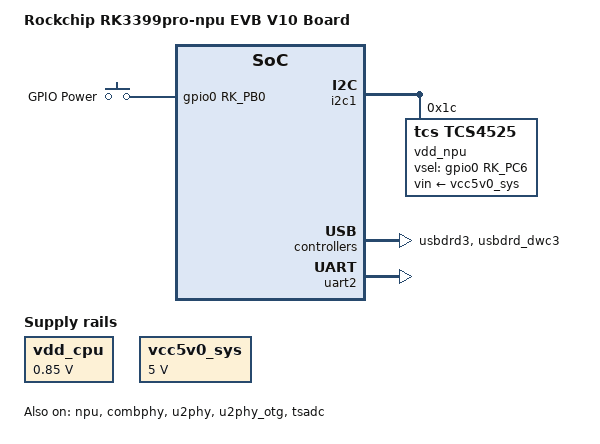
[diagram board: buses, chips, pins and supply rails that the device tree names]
// SPDX-License-Identifier: (GPL-2.0+ OR MIT)
/*
 * Copyright (c) 2018 Fuzhou Rockchip Electronics Co., Ltd
 */

/dts-v1/;
#include <dt-bindings/gpio/gpio.h>
#include <dt-bindings/pinctrl/rockchip.h>
#include "rk3399pro-npu.dtsi"

/ {
	model = "Rockchip RK3399pro-npu EVB V10 Board";
	compatible = "rockchip,rk3399pro-npu-evb-v10", "rockchip,rk3399pro-npu";

	chosen {
		bootargs = "earlycon=uart8250,mmio32,0xff550000 console=ttyS2,1500000 init=/init kpti=0";
	};

	keys: gpio-keys {
		compatible = "gpio-keys";
		pinctrl-names = "default";
		pinctrl-0 = <&pwr_key>;

		power {
			gpios = <&gpio0 RK_PB0 GPIO_ACTIVE_HIGH>;
			label = "GPIO Power";
			linux,code = <116>;
			wakeup-source;
		};
	};

	fiq-debugger {
		compatible = "rockchip,fiq-debugger";
		rockchip,serial-id = <2>;
		rockchip,wake-irq = <0>;
		/* If enable uart uses irq instead of fiq */
		rockchip,irq-mode-enable = <0>;
		rockchip,baudrate = <1500000>;  /* Only 115200 and 1500000 */
		interrupts = <GIC_SPI 242 IRQ_TYPE_LEVEL_HIGH>;
		pinctrl-names = "default";
		pinctrl-0 = <&uart2m0_xfer>;
		status = "okay";
	};

	vdd_cpu: vdd-cpu {
		compatible = "regulator-fixed";
		regulator-name = "vdd_cpu";
		regulator-always-on;
		regulator-boot-on;
		regulator-min-microvolt = <850000>;
		regulator-max-microvolt = <850000>;
	};

	vcc5v0_sys: vcc5v0-sys {
		compatible = "regulator-fixed";
		regulator-name = "vcc5v0_sys";
		regulator-always-on;
		regulator-boot-on;
		regulator-min-microvolt = <5000000>;
		regulator-max-microvolt = <5000000>;
	};
};

&cpu0 {
	cpu-supply = <&vdd_cpu>;
};

&cpu1 {
	cpu-supply = <&vdd_cpu>;
};

&i2c1 {
	status = "okay";

	vdd_npu: tcs4525@1c {
		compatible = "tcs,tcs4525";
		reg = <0x1c>;
		vin-supply = <&vcc5v0_sys>;
		regulator-compatible = "fan53555-reg";
		pinctrl-0 = <&vsel_gpio>;
		vsel-gpios = <&gpio0 RK_PC6 GPIO_ACTIVE_HIGH>;
		regulator-name = "vdd_npu";
		regulator-min-microvolt = <750000>;
		regulator-max-microvolt = <800000>;
		regulator-ramp-delay = <2300>;
		fcs,suspend-voltage-selector = <1>;
		regulator-always-on;
		regulator-boot-on;
		regulator-initial-state = <3>;
		regulator-state-mem {
			regulator-off-in-suspend;
		};
	};
};

&npu {
	npu-supply = <&vdd_npu>;
	status = "okay";
};

&combphy {
	status = "okay";
};

&u2phy {
	status = "okay";
};

&u2phy_otg {
	status = "okay";
};

&usbdrd3 {
	status = "okay";
};

&usbdrd_dwc3 {
	status = "okay";
};

&tsadc {
	rockchip,hw-tshut-mode = <1>; /* tshut mode 0:CRU 1:GPIO */
	rockchip,hw-tshut-polarity = <1>; /* tshut polarity 0:LOW 1:HIGH */
	pinctrl-names = "init", "default";
	pinctrl-0 = <&tsadc_otp_gpio>;
	pinctrl-1 = <&tsadc_otp_out>;
	status = "okay";
};

&pinctrl {
	vdd-npu-sleep {
		vsel_gpio: vsel-gpio {
			rockchip,pins =
				<0 RK_PC6 RK_FUNC_GPIO &pcfg_pull_down>;
		};
	};

	pwr-key-grp {
		pwr_key: pwr-key {
			rockchip,pins =
				<0 RK_PB0 RK_FUNC_GPIO &pcfg_pull_none>;
		};
	};
};

/*
 * Give the usb3 otg reset to the combphy, not to the dwc3 wrapper.
 *
 * Two nodes ask for <&cru SRST_USB3_OTG_A>: usbdrd3 as "usb3-otg" and combphy
 * as "otg-rst". Both ask exclusively - dwc3-of-simple through
 * of_reset_control_array_get(np, false, ...), the phy through
 * devm_reset_control_get() - and 6.1's reset core refuses the second caller
 * with a WARN at drivers/reset/core.c:766 and -EBUSY. 4.4 and 5.10 allowed the
 * duplicate silently, which is why the same device tree works there.
 *
 * Whoever loses depends on probe order. Built in, the combphy wins and the dwc3
 * wrapper gets nothing, so no gadget comes up at all - no shell, no transfer,
 * nothing to read on a die whose only console is that gadget. As a module
 * loaded by hand the combphy loses instead, which is why that looked fine.
 *
 * The phy is the one that needs it. phy_u3_init asserts the controller reset,
 * brings the PLL up, and deasserts it once lane0 is ready; without it the PLL
 * never locks, phy_init returns -110 and dwc3 fails with "failed to initialize
 * core" anyway. Dropping it from the phy was tried first and produced exactly
 * that. dwc3-of-simple asks with optional=true, so it is happy with none, and
 * the phy hands the controller back deasserted before dwc3's core init runs -
 * which is the order 4.4 ends up in.
 */
&usbdrd3 {
	/delete-property/ resets;
	/delete-property/ reset-names;
};

/*
 * The console.
 *
 * rk3399pro-npu.dtsi leaves uart2 status = "disabled", and the vendor board dts
 * never enables it - what it enables is the fiq-debugger node, which borrows the
 * same pins through pinctrl-0 = <&uart2m0_xfer> and rockchip,serial-id = <2>.
 * Mainline has no fiq debugger, so without this the uart is simply off: no
 * "ttyS2 at MMIO" line, no /dev/console, and init dies with
 * "Attempted to kill init!".
 *
 * Watch out for the near miss when checking whether this is already present:
 * "&uart2" is a substring of "&uart2m0_xfer", so a plain `in` test says yes on
 * a dts that has only the pinctrl reference. Match the node reference itself.
 *
 * pinctrl is dropped in the same block: mainline's pinctrl-rockchip did not
 * know this soc when the console was first brought up, and u-boot has already
 * muxed these pins, which is why earlycon works on them. With the rk1808 data
 * now installed the state could be restored, but the console has no need of it.
 */
&uart2 {
	status = "okay";
};
